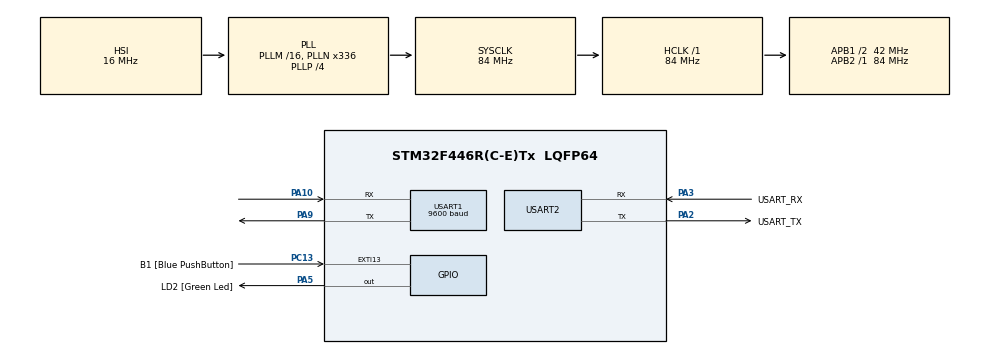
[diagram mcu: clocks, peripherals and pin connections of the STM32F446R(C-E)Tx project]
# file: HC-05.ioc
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Mcu.Family=STM32F4
Mcu.Name=STM32F446R(C-E)Tx
Mcu.Package=LQFP64
NVIC.PriorityGroup=NVIC_PRIORITYGROUP_0
NVIC.USART1_IRQn=true\:0\:0\:false\:false\:true\:true\:true\:true
NVIC.USART2_IRQn=true\:0\:0\:false\:false\:true\:true\:true\:true
PA10.Mode=Asynchronous
PA10.Signal=USART1_RX
PA13.GPIO_Label=TMS
PA13.Mode=Serial_Wire
PA13.Signal=SYS_JTMS-SWDIO
PA14.GPIO_Label=TCK
PA14.Mode=Serial_Wire
PA14.Signal=SYS_JTCK-SWCLK
PA2.GPIO_Label=USART_TX
PA2.Mode=Asynchronous
PA2.Signal=USART2_TX
PA3.GPIO_Label=USART_RX
PA3.Mode=Asynchronous
PA3.Signal=USART2_RX
PA5.GPIO_Label=LD2 [Green Led]
PA5.Signal=GPIO_Output
PA9.Mode=Asynchronous
PA9.Signal=USART1_TX
PB3.GPIO_Label=SWO
PB3.Signal=SYS_JTDO-SWO
PC13.GPIO_Label=B1 [Blue PushButton]
PC13.GPIO_ModeDefaultEXTI=GPIO_MODE_IT_FALLING
PC13.Signal=GPXTI13
PC14-OSC32_IN.Mode=LSE-External-Oscillator
PC14-OSC32_IN.Signal=RCC_OSC32_IN
PC15-OSC32_OUT.Mode=LSE-External-Oscillator
PC15-OSC32_OUT.Signal=RCC_OSC32_OUT
PH0-OSC_IN.Mode=HSE-External-Oscillator
PH0-OSC_IN.Signal=RCC_OSC_IN
PH1-OSC_OUT.Mode=HSE-External-Oscillator
PH1-OSC_OUT.Signal=RCC_OSC_OUT
ProjectManager.HeapSize=0x200
ProjectManager.StackSize=0x400
ProjectManager.TargetToolchain=STM32CubeIDE
RCC.48MHZClocksFreq_Value=84000000
RCC.AHBFreq_Value=84000000
RCC.APB1CLKDivider=RCC_HCLK_DIV2
RCC.APB1Freq_Value=42000000
RCC.APB1TimFreq_Value=84000000
RCC.APB2Freq_Value=84000000
RCC.APB2TimFreq_Value=84000000
RCC.CortexFreq_Value=84000000
RCC.FLatency-AdvancedSettings=FLASH_LATENCY_2
RCC.HCLKFreq_Value=84000000
RCC.HSE_VALUE=8000000
RCC.HSI_VALUE=16000000
RCC.PLLN=336
RCC.PLLP=RCC_PLLP_DIV4
RCC.SYSCLKFreq_VALUE=84000000
RCC.SYSCLKSource=RCC_SYSCLKSOURCE_PLLCLK
RCC.USBFreq_Value=168000000
RCC.VCOOutputFreq_Value=336000000
USART1.BaudRate=9600
USART1.Mode=MODE_TX_RX
USART1.VirtualMode=VM_ASYNC
USART2.VirtualMode=VM_ASYNC
board=NUCLEO-F446RE

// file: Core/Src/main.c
/* USER CODE BEGIN Header */
/**
  ******************************************************************************
  * @file           : main.c
  * @brief          : Main program body
  ******************************************************************************
  * @attention
  *
  * Copyright (c) 2025 STMicroelectronics.
  * All rights reserved.
  *
  * This software is licensed under terms that can be found in the LICENSE file
  * in the root directory of this software component.
  * If no LICENSE file comes with this software, it is provided AS-IS.
  *
  ******************************************************************************
  */
/* USER CODE END Header */
#include "main.h"

/* USER CODE BEGIN Includes */
#include <string.h>
#include <stdio.h>
/* USER CODE END Includes */

/* USER CODE BEGIN PD */
#define RX_BUFFER_SIZE 64
/* USER CODE END PD */

UART_HandleTypeDef huart1;
UART_HandleTypeDef huart2;

/* USER CODE BEGIN PV */
char rxBuffer[RX_BUFFER_SIZE];
uint8_t rxData;
uint8_t rxIndex = 0;

/* USER CODE END PV */

void SystemClock_Config(void);
static void MX_GPIO_Init(void);
static void MX_USART2_UART_Init(void);
static void MX_USART1_UART_Init(void);
/* USER CODE BEGIN PFP */
void processCommand(char *cmd);
/* USER CODE END PFP */

/* USER CODE BEGIN 0 */

/* UART receive complete callback */
void HAL_UART_RxCpltCallback(UART_HandleTypeDef *huart)
{
  if(huart->Instance == USART1) // HC-05 UART
  {
    if(rxData == '\r' || rxData == '\n')
    {
      rxBuffer[rxIndex] = '\0'; // End string

      if(rxIndex > 0) {
        char dbg[80];
        snprintf(dbg, sizeof(dbg), "Received from Phone: %s\r\n", rxBuffer);
        HAL_UART_Transmit(&huart2, (uint8_t*)dbg, strlen(dbg), HAL_MAX_DELAY);

        processCommand(rxBuffer);
        rxIndex = 0;
      }
    }
    else
    {
      if(rxIndex < RX_BUFFER_SIZE-1)
      {
        rxBuffer[rxIndex++] = rxData;
      }
    }

    HAL_UART_Receive_IT(&huart1, &rxData, 1); // Restart UART interrupt
  }
}

void processCommand(char *cmd)
{
  if(strcmp(cmd, "led on") == 0) {
    HAL_GPIO_WritePin(GPIOA, GPIO_PIN_5, GPIO_PIN_SET); // LED ON
    char *resp = "LED turned ON\r\n";
    HAL_UART_Transmit(&huart1, (uint8_t*)resp, strlen(resp), HAL_MAX_DELAY);
  }
  else if(strcmp(cmd, "led off") == 0) {
    HAL_GPIO_WritePin(GPIOA, GPIO_PIN_5, GPIO_PIN_RESET); // LED OFF
    char *resp = "LED turned OFF\r\n";
    HAL_UART_Transmit(&huart1, (uint8_t*)resp, strlen(resp), HAL_MAX_DELAY);
  }
  else {
    char *resp = "Unknown command\r\n";
    HAL_UART_Transmit(&huart1, (uint8_t*)resp, strlen(resp), HAL_MAX_DELAY);
  }
}
/* USER CODE END 0 */

int main(void)
{

  /* MCU Configuration--------------------------------------------------------*/

  /* Reset of all peripherals, Initializes the Flash interface and the Systick. */
  HAL_Init();

  /* Configure the system clock */
  SystemClock_Config();

  /* Initialize all configured peripherals */
  MX_GPIO_Init();
  MX_USART2_UART_Init();
  MX_USART1_UART_Init();
  /* USER CODE BEGIN 2 */
	// Enable UART1 receive interrupt
	HAL_UART_Receive_IT(&huart1, &rxData, 1);

	char *msg = "Bluetooth Chat Ready\r\n";
	HAL_UART_Transmit(&huart2, (uint8_t*) msg, strlen(msg), HAL_MAX_DELAY);

  /* USER CODE END 2 */

  /* Infinite loop */
  while (1)
  {

  }
}

void SystemClock_Config(void)
{
  RCC_OscInitTypeDef RCC_OscInitStruct = {0};
  RCC_ClkInitTypeDef RCC_ClkInitStruct = {0};

  /** Configure the main internal regulator output voltage
  */
  __HAL_RCC_PWR_CLK_ENABLE();
  __HAL_PWR_VOLTAGESCALING_CONFIG(PWR_REGULATOR_VOLTAGE_SCALE3);

  /** Initializes the RCC Oscillators according to the specified parameters
  * in the RCC_OscInitTypeDef structure.
  */
  RCC_OscInitStruct.OscillatorType = RCC_OSCILLATORTYPE_HSI;
  RCC_OscInitStruct.HSIState = RCC_HSI_ON;
  RCC_OscInitStruct.HSICalibrationValue = RCC_HSICALIBRATION_DEFAULT;
  RCC_OscInitStruct.PLL.PLLState = RCC_PLL_ON;
  RCC_OscInitStruct.PLL.PLLSource = RCC_PLLSOURCE_HSI;
  RCC_OscInitStruct.PLL.PLLM = 16;
  RCC_OscInitStruct.PLL.PLLN = 336;
  RCC_OscInitStruct.PLL.PLLP = RCC_PLLP_DIV4;
  RCC_OscInitStruct.PLL.PLLQ = 2;
  RCC_OscInitStruct.PLL.PLLR = 2;
  if (HAL_RCC_OscConfig(&RCC_OscInitStruct) != HAL_OK)
  {
    Error_Handler();
  }

  /** Initializes the CPU, AHB and APB buses clocks
  */
  RCC_ClkInitStruct.ClockType = RCC_CLOCKTYPE_HCLK|RCC_CLOCKTYPE_SYSCLK
                              |RCC_CLOCKTYPE_PCLK1|RCC_CLOCKTYPE_PCLK2;
  RCC_ClkInitStruct.SYSCLKSource = RCC_SYSCLKSOURCE_PLLCLK;
  RCC_ClkInitStruct.AHBCLKDivider = RCC_SYSCLK_DIV1;
  RCC_ClkInitStruct.APB1CLKDivider = RCC_HCLK_DIV2;
  RCC_ClkInitStruct.APB2CLKDivider = RCC_HCLK_DIV1;

  if (HAL_RCC_ClockConfig(&RCC_ClkInitStruct, FLASH_LATENCY_2) != HAL_OK)
  {
    Error_Handler();
  }
}

static void MX_USART1_UART_Init(void)
{

  huart1.Instance = USART1;
  huart1.Init.BaudRate = 9600;
  huart1.Init.WordLength = UART_WORDLENGTH_8B;
  huart1.Init.StopBits = UART_STOPBITS_1;
  huart1.Init.Parity = UART_PARITY_NONE;
  huart1.Init.Mode = UART_MODE_TX_RX;
  huart1.Init.HwFlowCtl = UART_HWCONTROL_NONE;
  huart1.Init.OverSampling = UART_OVERSAMPLING_16;
  if (HAL_UART_Init(&huart1) != HAL_OK)
  {
    Error_Handler();
  }

}

static void MX_USART2_UART_Init(void)
{

  huart2.Instance = USART2;
  huart2.Init.BaudRate = 115200;
  huart2.Init.WordLength = UART_WORDLENGTH_8B;
  huart2.Init.StopBits = UART_STOPBITS_1;
  huart2.Init.Parity = UART_PARITY_NONE;
  huart2.Init.Mode = UART_MODE_TX_RX;
  huart2.Init.HwFlowCtl = UART_HWCONTROL_NONE;
  huart2.Init.OverSampling = UART_OVERSAMPLING_16;
  if (HAL_UART_Init(&huart2) != HAL_OK)
  {
    Error_Handler();
  }

}

static void MX_GPIO_Init(void)
{
  GPIO_InitTypeDef GPIO_InitStruct = {0};

  /* GPIO Ports Clock Enable */
  __HAL_RCC_GPIOC_CLK_ENABLE();
  __HAL_RCC_GPIOH_CLK_ENABLE();
  __HAL_RCC_GPIOA_CLK_ENABLE();
  __HAL_RCC_GPIOB_CLK_ENABLE();

  /*Configure GPIO pin Output Level */
  HAL_GPIO_WritePin(LD2_GPIO_Port, LD2_Pin, GPIO_PIN_RESET);

  /*Configure GPIO pin : B1_Pin */
  GPIO_InitStruct.Pin = B1_Pin;
  GPIO_InitStruct.Mode = GPIO_MODE_IT_FALLING;
  GPIO_InitStruct.Pull = GPIO_NOPULL;
  HAL_GPIO_Init(B1_GPIO_Port, &GPIO_InitStruct);

  /*Configure GPIO pin : LD2_Pin */
  GPIO_InitStruct.Pin = LD2_Pin;
  GPIO_InitStruct.Mode = GPIO_MODE_OUTPUT_PP;
  GPIO_InitStruct.Pull = GPIO_NOPULL;
  GPIO_InitStruct.Speed = GPIO_SPEED_FREQ_LOW;
  HAL_GPIO_Init(LD2_GPIO_Port, &GPIO_InitStruct);

}

void Error_Handler(void)
{
  __disable_irq();
  while (1)
  {
  }
}
